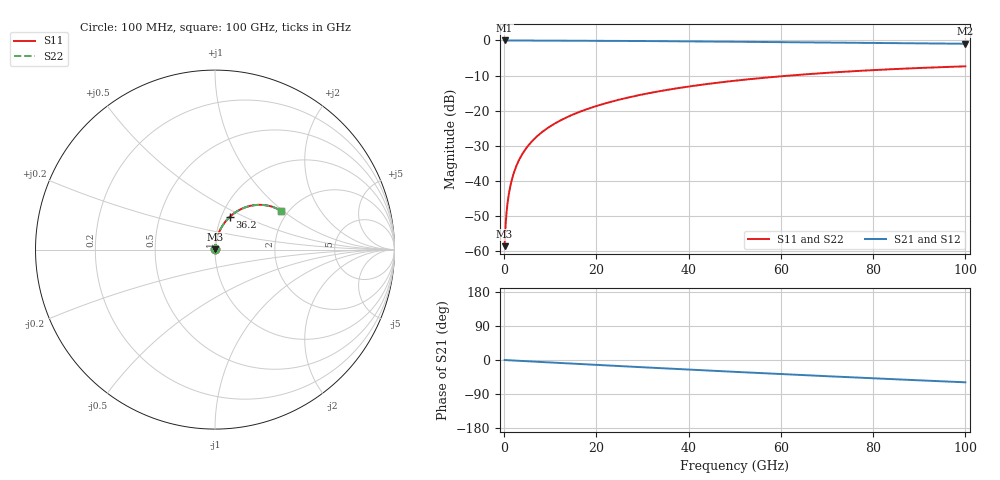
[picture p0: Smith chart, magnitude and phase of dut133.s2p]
! Touchstone file exported from HFSS 2026.1.0
!  File:  C:/ffzhzh/LocalFiles/Ansys_Project_Files/temp_train_RDL_133_1783499629_44152.aedt
!  Generated:  04:34:53 PM Jul  8, 2026
!  Design:  RDL
!  Project:  temp_train_RDL_133_1783499629_44152
! Variables:
!  h_bsmrdl = 2um
!  h_ox = 20um
!  h_rdl = 5um
!  h_sub = 80um
!  h_tmrdl = 3.26um
!  h_tsv = 80um
!  h_via = 3um
!  l_bsmrdl = 300um
!  l_sub = 561.36um
!  l_tmrdl = 161.36um
!  m_sub = 200um
!  pitch = 46.38um
!  r_tsv = 6um
!  s_tmrdl = 10um
!  w_bsmrdl = 18um
!  w_sub = 500um
!  w_tmrdl = 25.61um
!  x_tsv_center1 = 174.165um
!  x_tsv_center2 = 492.165um
!  x_tsv_center3 = 679.135um
!  x_tsv_center4 = 997.135um
!  x_tsv_center5 = 1184.105um
!  x_tsv_center6 = 1502.105um
# GHz S MA R 50.000000
! Terminal data exported
! Port[1] = TM_RDL1_1_T1
! Port[2] = TM_RDL1_1_T2
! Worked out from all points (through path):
!   1000 points, 100 MHz to 100 GHz, reference 50 ohm
!   highest |S21| = -0.01 dB at 100 MHz (marker M1); lowest = -0.9 dB at 100 GHz (marker M2)
!   group delay of S21, straight-line fit = 1.64 ps
!   lowest |S11| = -58.6 dB at 100 MHz (marker M3), VSWR 1.00, Z = 50.1 + j0.0692 ohm
!   |S11| at or under -10 dB: start of sweep to 62.05 GHz
!   |S22| runs from -58.6 to -7.4 dB; largest |S21 - S12| = 1.2e-14
!   S11 on the Smith chart (normalised r, x): 100 MHz: 1.00, +0.00; 36.2 GHz: 1.10, +0.42; 100 GHz: 1.84, +0.97
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0.1  0.001168 36.2  0.9991 -0.1  0.9991 -0.1  0.001168 36.2
! Gamma 0 0 0 0
! Port Impedance 50 0 50 0
0.3  0.002251 62.1  0.999 -0.2  0.999 -0.2  0.002251 62.1
0.7  0.004573 74.5  0.9988 -0.5  0.9988 -0.5  0.004573 74.5
0.9  0.00575 77.2  0.9988 -0.6  0.9988 -0.6  0.00575 77.2
1.2  0.007535 79.6  0.9987 -0.8  0.9987 -0.8  0.007535 79.6
1.5  0.009334 81.1  0.9987 -1.0  0.9987 -1.0  0.009334 81.1
2  0.01235 82.5  0.9986 -1.3  0.9986 -1.3  0.01235 82.5
2.6  0.01597 83.2  0.9985 -1.7  0.9985 -1.7  0.01597 83.2
3.3  0.02019 83.6  0.9983 -2.2  0.9983 -2.2  0.02019 83.6
4.1  0.02499 83.6  0.9981 -2.7  0.9981 -2.7  0.02499 83.6
5.1  0.03097 83.3  0.9977 -3.4  0.9977 -3.4  0.03097 83.3
6.2  0.03749 82.9  0.9973 -4.1  0.9973 -4.1  0.03749 82.9
9  0.05391 81.5  0.996 -5.9  0.996 -5.9  0.05391 81.5
12.5  0.07406 79.5  0.9942 -8.1  0.9942 -8.1  0.07406 79.5
16.8  0.09837 77.0  0.9915 -10.9  0.9915 -10.9  0.09837 77.0
24.2  0.1391 72.7  0.9859 -15.5  0.9859 -15.5  0.1391 72.7
33.4  0.1874 67.2  0.9772 -21.2  0.9772 -21.2  0.1874 67.2
36.2  0.2015 65.6  0.9742 -23.0  0.9742 -23.0  0.2015 65.5
50.1  0.2669 57.4  0.9577 -31.3  0.9577 -31.3  0.2669 57.4
66.7  0.3336 48.0  0.9361 -40.9  0.9361 -40.9  0.3336 48.0
83.4  0.3873 39.0  0.915 -50.1  0.915 -50.1  0.3873 38.9
100  0.4273 30.3  0.8968 -58.9  0.8968 -58.9  0.4273 30.2
